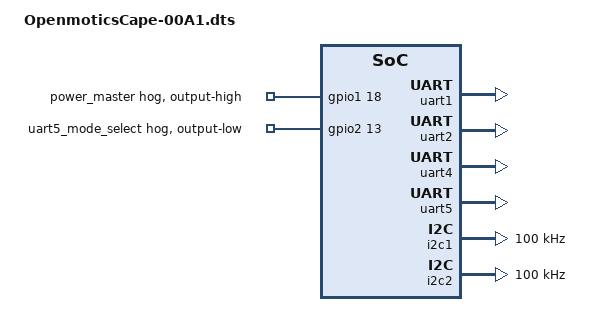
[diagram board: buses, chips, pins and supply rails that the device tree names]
/dts-v1/;
/plugin/;

#include <dt-bindings/board/am335x-bbw-bbb-base.h>
#include <dt-bindings/gpio/gpio.h>
#include <dt-bindings/pinctrl/am33xx.h>

/ {
	compatible = "ti,beaglebone", "ti,beaglebone-black", "ti,beaglebone-green";

	// identification
	part-number = "BB-OPENMOTICS";
	version = "00A1";

	// resources this cape uses
	exclusive-use =
		"P9.24",		// uart1_txd
		"P9.26",		// uart1_rxd
		"uart1",		// hardware ip used

		"P9.21",		// uart2_txd
		"P9.22",		// uart2_rxd
		"uart2",		// hardware ip used

		"P9.11",		// uart4_rxd
		"P9.13",		// uart4_txd
		"P8.33",		// uart4_de/re
		"gpio0_9",
		"uart4",		// hardware ip used

		"P8.37",		// uart5_txd
		"P8.38",		// uart5_rxd
		"P8.32",		// uart5_de/re
		"gpio0_11",
		"uart5",		// hardware ip used

		"P9.17",		// i2c1_scl
		"P9.18",		// i2c1_scl
		"i2c1",			// hardware ip used

		"P9.19",		// i2c2_scl
		"P9.20",		// i2c2_scl
		"i2c2",			// hardware ip used

		"P9_12",  /* P9_12: power_master (GPIO1_18) */
		// "P9_25",  /* P9_25: reset_external_board (GPIO3_21) */
		"P8_40";  /* P8_40: uart5_mode_select (GPIO2_13) */

	/*
	 * Free up the pins used by the cape from the pinmux helpers.
	 */
	fragment@0 {
		target = <&ocp>;
		__overlay__ {
			P9_24_pinmux { status = "disabled"; };  /* uart1_txd */
			P9_26_pinmux { status = "disabled"; };  /* uart1_rxd */

			P9_21_pinmux { status = "disabled"; };  /* P9_21: spi0_d0.uart2_txd */
			P9_22_pinmux { status = "disabled"; };  /* P9_22: spi0_sclk.uart2_rxd */

			P9_13_pinmux { status = "disabled"; };  /* P9_13: gpmc_wpn.uart4_txd_mux2 */
			P9_11_pinmux { status = "disabled"; };  /* P9_11: gpmc_wait0.uart4_rxd_mux2 */
			P8_33_pinmux { status = "disabled"; };  /* P9_27: MUX_MODE7 (GPIO3_19) */

			P8_37_pinmux { status = "disabled"; };  /* uart5_txd */
			P8_38_pinmux { status = "disabled"; };  /* uart5_rxd */
			P8_32_pinmux { status = "disabled"; };  /* P8_32: MUX_MODE7 (GPIO0_11) */

			P9_17_pinmux { status = "disabled"; };  /* i2c1_scl */
			P9_18_pinmux { status = "disabled"; };  /* i2c1_sda */

			P9_19_pinmux { status = "disabled"; };  /* i2c2_scl */
			P9_20_pinmux { status = "disabled"; };  /* i2c2_sda */

			P9_12_pinmux { status = "disabled"; };  /* P9_12: power_master (GPIO1_18) */
			P8_40_pinmux { status = "disabled"; };  /* P8_40: uart5_mode_select (GPIO2_13) */
		};
	};

	fragment@1 {
		target = <&am33xx_pinmux>;
		__overlay__ {
			openmotics_uart1_pins: pinmux_openmotics_uart1_pins {
				pinctrl-single,pins = <
					BONE_P9_24 (PIN_OUTPUT | MUX_MODE0)  /* uart1_txd */
					BONE_P9_26 (PIN_INPUT | MUX_MODE0)   /* uart1_rxd */
				>;
			};

			openmotics_uart2_pins: pinmux_openmotics_uart2_pins {
				pinctrl-single,pins = <
					BONE_P9_21 (PIN_OUTPUT | MUX_MODE1)  /* P9_21: spi0_d0.uart2_txd */
					BONE_P9_22 (PIN_INPUT | MUX_MODE1)   /* P9_22: spi0_sclk.uart2_rxd */
				>;
			};

			openmotics_uart4_pins: pinmux_openmotics_uart4_pins {
				pinctrl-single,pins = <
					BONE_P9_13 (PIN_OUTPUT | MUX_MODE6)  /* P9_13: gpmc_wpn.uart4_txd_mux2 */
					BONE_P9_11 (PIN_INPUT  | MUX_MODE6)  /* P9_11: gpmc_wait0.uart4_rxd_mux2 */
					BONE_P8_33 MUX_MODE7                 /* P8_33: uart4_de/re (GPIO0_9) */
				>;
			};

			openmotics_uart5_pins: pinmux_openmotics_uart5_pins {
				pinctrl-single,pins = <
					BONE_P8_37 (PIN_OUTPUT | MUX_MODE4)  /* lcd_data8.uart5_txd */
					BONE_P8_38 (PIN_INPUT | MUX_MODE4)   /* lcd_data9.uart5_rxd */
					BONE_P8_32 MUX_MODE7                 /* P8_32: uart5_de/re (GPIO0_11) */
				>;
			};

			openmotics_i2c1_pins: pinmux_openmotics_i2c1_pins {
				pinctrl-single,pins = <
					BONE_P9_17 0x72  /* P9_17: i2c1_scl, SLEWCTRL_SLOW | INPUT_PULLUP | MODE2 */
					BONE_P9_18 0x72  /* P9_18: i2c1_sda, SLEWCTRL_SLOW | INPUT_PULLUP | MODE2 */
				>;
			};

			openmotics_i2c2_pins: pinmux_openmotics_i2c2_pins {
				pinctrl-single,pins = <
					BONE_P9_19 0x73  /* P9_19: i2c2_scl, SLEWCTRL_SLOW | INPUT_PULLUP | MODE3 */
					BONE_P9_20 0x73  /* P9_20: i2c2_sda, SLEWCTRL_SLOW | INPUT_PULLUP | MODE3 */
				>;
			};

			power_master_pins: pinmux_power_master_pins {
				pinctrl-single,pins = <
					BONE_P9_12 (PIN_OUTPUT | MUX_MODE7)  /* P9_12: power_master (GPIO1_18) */
				>;
			};

			uart5_mode_select_pins: pinmux_uart5_mode_select_pins {
				pinctrl-single,pins = <
					BONE_P8_40 (PIN_OUTPUT | MUX_MODE7)  /* P8_40: uart5_mode_select (GPIO2_13) */
				>;
			};
		};
	};

	fragment@2 {
		target = <&uart1>;
		__overlay__ {
			status = "okay";
			pinctrl-names = "default";
			pinctrl-0 = <&openmotics_uart1_pins>;
		};
	};

	fragment@3 {
		target = <&uart2>;
		__overlay__ {
			status = "okay";
			pinctrl-names = "default";
			pinctrl-0 = <&openmotics_uart2_pins>;
		};
	};

	fragment@4 {
		target = <&uart4>;
		__overlay__ {
			status = "okay";
			pinctrl-names = "default";
			pinctrl-0 = <&openmotics_uart4_pins>;
			rs485-rts-delay = <0x0 0x0>;

			rts-gpio = <&gpio0 0x9 0x1>;  /* P8_33: GPIO0_9 GPIO_ACTIVE_HIGH */
			rs485-rts-active-high;
			linux,rs485-enabled-at-boot-time;
		};
	};

	fragment@5 {
		target = <&uart5>;
		__overlay__ {
			status = "okay";
			pinctrl-names = "default";
			pinctrl-0 = <&openmotics_uart5_pins>;
			rs485-rts-delay = <0x0 0x0>;

			rts-gpio = <&gpio0 11 0x0>;  /* P8_32: GPIO0_11 GPIO_ACTIVE_LOW */
			rs485-rts-active-low;
			linux,rs485-enabled-at-boot-time;
		};
	};

	fragment@6 {
		target = <&i2c1>;
		__overlay__ {
			status = "okay";
			pinctrl-names = "default";
			pinctrl-0 = <&openmotics_i2c1_pins>;
			clock-frequency = <0x186a0>;
			#address-cells = <0x1>;
			#size-cells = <0x0>;
		};
	};

	fragment@7 {
		target = <&i2c2>;
		__overlay__ {
			status = "okay";
			pinctrl-names = "default";
			pinctrl-0 = <&openmotics_i2c2_pins>;
			clock-frequency = <0x186a0>;
			#address-cells = <0x1>;
			#size-cells = <0x0>;
		};
	};

	fragment@8 {
		target = <&gpio1>;
		__overlay__ {
			power_master {
				gpio-hog;
				gpios = <18 GPIO_ACTIVE_HIGH>;
				output-high;
				line-name = "power_master";
			};
		};
	};

	fragment@9 {
		target = <&gpio2>;
		__overlay__ {
			uart5_mode_select {
				gpio-hog;
				gpios = <13 GPIO_ACTIVE_HIGH>;
				output-low;
				line-name = "uart5_mode_select";
			};
		};
	};
};
